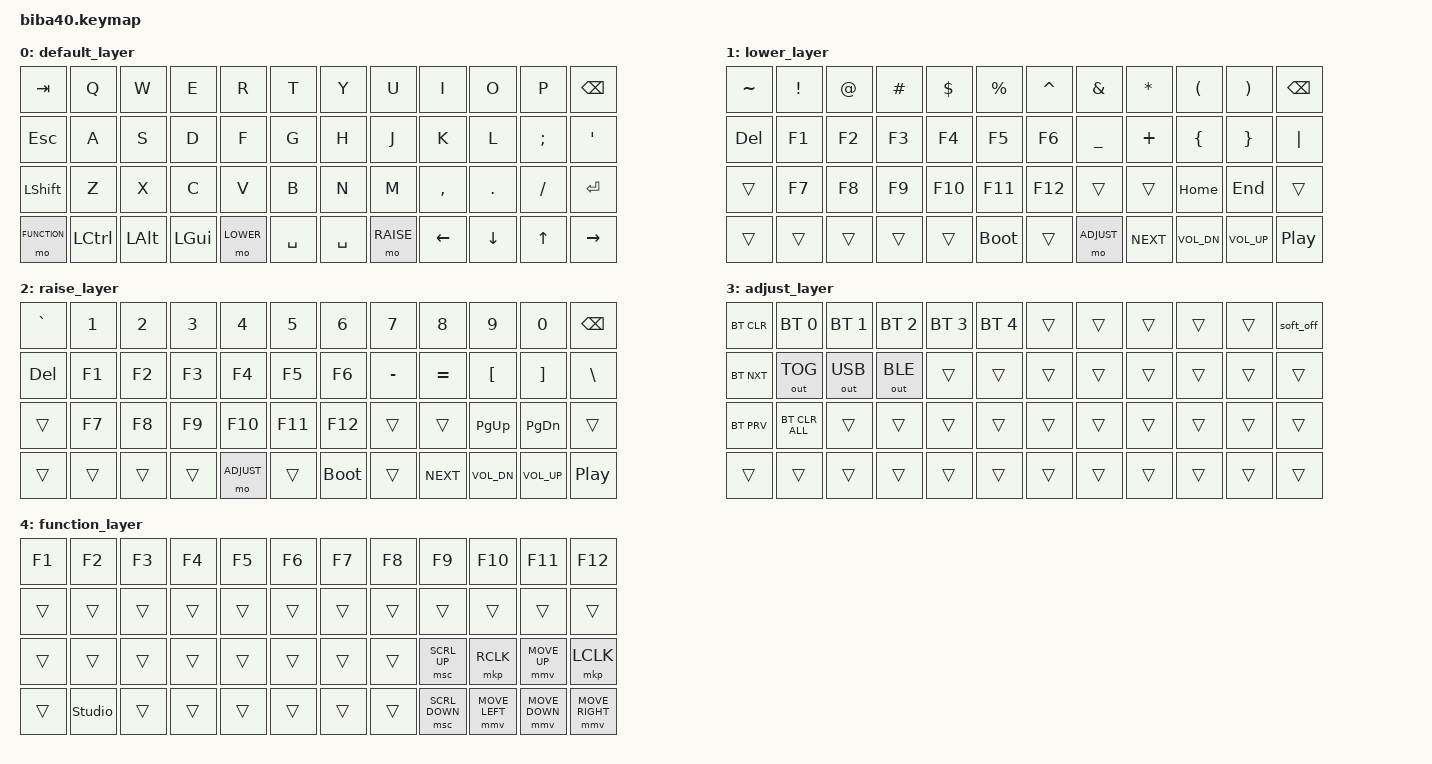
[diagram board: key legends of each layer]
/*
 * Copyright (c) 2020 The ZMK Contributors
 * BIBA2026
 * SPDX-License-Identifier: MIT
 */

#include <behaviors/mouse_keys.dtsi>
#include <behaviors.dtsi>
#include <dt-bindings/zmk/bt.h>
#include <dt-bindings/zmk/keys.h>
#include <dt-bindings/zmk/outputs.h>

// Mouse movement and scroll ceilings
#define ZMK_POINTING_DEFAULT_MOVE_VAL 900
#define ZMK_POINTING_DEFAULT_SCRL_VAL 16
#include <dt-bindings/zmk/pointing.h>

#define DEFAULT 0
#define LOWER  1
#define RAISE  2
#define ADJUST 3
#define FUNCTION 4

/* NOTE: At the time of the creation of this keymap, there are no specified codes for 'eisuu' and 'kana' input in ZMK.
However, 'LANG1' and 'LANG2' are fully-functioning candidates for 'kana' and 'eisuu' input respectively.
As such, those are in use within the default layer at this time.*/

&soft_off {
    hold-time-ms = <3000>; // Only turn off if the key is held for 3 seconds or longer.
};

// Mouse acceleration behavior (conservative: smooth but responsive)
&mmv {
    time-to-max-speed-ms = <900>;  // ~1.2s to reach max
    acceleration-exponent = <1>;    // balanced curve
};

&msc {
    time-to-max-speed-ms = <700>;
    acceleration-exponent = <1>;
};

 / {
    keymap {
        compatible = "zmk,keymap";

        default_layer {
            // ---------------------------------------------------------------------------------------------------------------------------------
            // |  TAB   |   Q    |   W    |   E    |   R    |   T    |                                      |   Y    |   U    |   I    |   O    |   P    |  BSPC  |
            // |  ESC  |   A    |   S    |   D    |   F    |   G    |                                      |   H    |   J    |   K    |   L    |   ;    |   "    |
            // |  SHIFT |   Z    |   X    |   C    |   V    |   B    |                                      |   N    |   M    |   ,    |   .    |  SLASH |  ENTER |
            // |  FUNC |  CTRL  |  LALT  |  LGUI  | LOWER  | SPACE  |                                      | SPACE  |  RAISE |  LEFT  |  DOWN  |   UP   |  RIGHT |
            // ---------------------------------------------------------------------------------------------------------------------------------
            bindings = <
&kp TAB       &kp Q      &kp W     &kp E     &kp R      &kp T              &kp Y      &kp U      &kp I      &kp O       &kp P     &kp BSPC
&kp ESC       &kp A      &kp S     &kp D     &kp F      &kp G              &kp H      &kp J      &kp K      &kp L       &kp SEMI  &kp SQT
&kp LSHFT     &kp Z      &kp X     &kp C     &kp V      &kp B              &kp N      &kp M      &kp COMMA  &kp PERIOD  &kp SLASH &kp ENTER
&mo FUNCTION  &kp LCTRL  &kp LALT  &kp LGUI  &mo LOWER  &kp SPACE          &kp SPACE  &mo RAISE  &kp LEFT   &kp DOWN    &kp UP    &kp RIGHT
            >;
        };

        lower_layer {
            // -----------------------------------------------------------------------------------------------------------------------------
            // |  ~   |  !   |  @   |  #   |  $   |  %   |                              |  ^   |  &   |  *   |  (   |  )   | BSPC |
            // | DEL  |  F1  |  F2  |  F3  |  F4  |  F5  |                              |  F6  |  _   |  +   |  {   |  }   |  |   |
            // |      |  F7  |  F8  |  F9  |  F10 |  F11 |                              |  F12 |      |      | HOME | END  |      |
            // |      |      |      |      |      | BOOT |                              |      |ADJUST| NEXT | VOL- | VOL+ | PLAY |
            // -----------------------------------------------------------------------------------------------------------------------------
            bindings = <
&kp TILDE  &kp EXCL  &kp AT  &kp HASH  &kp DLLR  &kp PRCNT       &kp CARET  &kp AMPS        &kp ASTRK  &kp LPAR  &kp RPAR  &kp BSPC
&kp DEL    &kp F1    &kp F2  &kp F3    &kp F4    &kp F5          &kp F6     &kp UNDERSCORE  &kp PLUS   &kp LBRC  &kp RBRC  &kp PIPE
&trans     &kp F7    &kp F8  &kp F9    &kp F10   &kp F11         &kp F12    &trans          &trans     &kp HOME  &kp END   &trans
&trans     &trans    &trans  &trans    &trans    &bootloader     &trans     &mo ADJUST      &kp C_NEXT &kp C_VOL_DN &kp C_VOL_UP &kp C_PP
            >;
        };

        raise_layer {
            // -----------------------------------------------------------------------------------------------------------------------------
            // |   `   |   1   |   2   |   3   |   4   |   5   |                          |   6   |   7   |   8   |   9   |   0   |  BSPC |
            // |  DEL  |   F1  |   F2  |   F3  |   F4  |   F5  |                          |   F6  |   -   |   =   |   [   |   ]   |   \   |
            // |       |   F7  |   F8  |   F9  |  F10  |  F11  |                          |  F12  |       |       | PG_UP | PG_DN |       |
            // |       |       |       |       |ADJUST |       |                          | BOOT  |       | NEXT  | VOL-  | VOL+  | PLAY  |
            // -----------------------------------------------------------------------------------------------------------------------------
            bindings = <
&kp GRAVE  &kp N1    &kp N2  &kp N3    &kp N4      &kp N5          &kp N6       &kp N7   &kp N8     &kp N9    &kp N0    &kp BSPC
&kp DEL    &kp F1    &kp F2  &kp F3    &kp F4      &kp F5          &kp F6       &kp MINUS &kp EQUAL &kp LBKT  &kp RBKT  &kp BSLH
&trans     &kp F7    &kp F8  &kp F9    &kp F10     &kp F11         &kp F12      &trans   &trans     &kp PG_UP &kp PG_DN &trans
&trans     &trans    &trans  &trans    &mo ADJUST  &trans          &bootloader  &trans   &kp C_NEXT &kp C_VOL_DN &kp C_VOL_UP &kp C_PP
            >;
        };

        adjust_layer {
            // -----------------------------------------------------------------------------------------------------------------------------
            // |  BT CLR  | BT SEL0 | BT SEL1 | BT SEL2 | BT SEL3 | BT SEL4 |                    |          |          |          |          |          | SOFF |
            // |  BT NXT  | OUT TOG | OUT USB | OUT BLE |         |         |                    |          |          |          |          |          |      |
            // |  BT PRV  | CLR ALL |         |         |         |         |                    |          |          |          |          |          |      |
            // |          |         |         |         |         |         |                    |          |          |          |          |          |      |
            // -----------------------------------------------------------------------------------------------------------------------------
            bindings = <
&bt BT_CLR  &bt BT_SEL 0    &bt BT_SEL 1  &bt BT_SEL 2  &bt BT_SEL 3          &bt BT_SEL 4  &trans  &trans  &trans  &trans  &trans  &soft_off
&bt BT_NXT  &out OUT_TOG    &out OUT_USB  &out OUT_BLE  &trans                &trans        &trans  &trans  &trans  &trans  &trans  &trans
&bt BT_PRV  &bt BT_CLR_ALL  &trans        &trans        &trans                &trans        &trans  &trans  &trans  &trans  &trans  &trans
&trans      &trans          &trans        &trans        &trans                &trans        &trans  &trans  &trans  &trans  &trans  &trans
            >;
        };

        function_layer {
            // -----------------------------------------------------------------------------------------------------------------------------
            // |   F1   |   F2   |   F3   |   F4   |   F5   |   F6   |                          |   F7   |   F8   |   F9   |   F10  |   F11  |   F12  |
            // |        |        |        |        |        |        |                          |        |        |        |        |        |        |
            // |        |        |        |        |        |        |                          |        |        | SCRL↑ |  RCLK  |   UP   |  LCLK  |
            // |        |        |        |        |        |        |                          |        |        | SCRL↓ |  LEFT  |  DOWN  |  RIGHT |
            // -----------------------------------------------------------------------------------------------------------------------------
            bindings = <
&kp F1    &kp F2          &kp F3    &kp F4    &kp F5    &kp F6                         &kp F7    &kp F8    &kp F9           &kp F10          &kp F11          &kp F12
&trans    &trans          &trans    &trans    &trans    &trans                         &trans    &trans    &trans           &trans           &trans           &trans
&trans    &trans          &trans    &trans    &trans    &trans                         &trans    &trans    &msc SCRL_UP     &mkp RCLK        &mmv MOVE_UP     &mkp LCLK
&trans    &studio_unlock  &trans    &trans    &trans    &trans                         &trans    &trans    &msc SCRL_DOWN   &mmv MOVE_LEFT   &mmv MOVE_DOWN   &mmv MOVE_RIGHT
            >;
        };
    };
};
